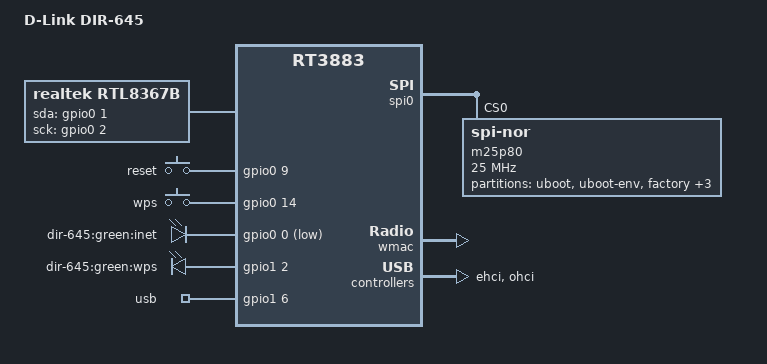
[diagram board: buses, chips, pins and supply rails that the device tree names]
/dts-v1/;

#include "rt3883.dtsi"

/ {
	compatible = "DIR-645", "ralink,rt3883-soc";
	model = "D-Link DIR-645";

	rtl8367b {
		compatible = "realtek,rtl8367b";
		gpio-sda = <&gpio0 1 0>;
		gpio-sck = <&gpio0 2 0>;
		realtek,extif1 = <1 0 1 1 1 1 1 1 2>;
	};

	gpio-keys-polled {
		compatible = "gpio-keys-polled";
		#address-cells = <1>;
		#size-cells = <0>;
		poll-interval = <100>;

		reset {
			label = "reset";
			gpios = <&gpio0 9 0>;
			linux,code = <0x198>;
		};

		wps {
			label = "wps";
			gpios = <&gpio0 14 0>;
			linux,code = <0x211>;
		};
	};

	gpio-leds {
		compatible = "gpio-leds";

		inet {
			label = "dir-645:green:inet";
			gpios = <&gpio0 0 1>;
		};

		wps {
			label = "dir-645:green:wps";
			gpios = <&gpio1 2 0>;
		};
	};

	gpio_export {
		compatible = "gpio-export";
		#size-cells = <0>;

		usb {
			gpio-export,name = "usb";
			gpio-export,output = <1>;
			gpios = <&gpio1 6 0>;
		};
	};
};

&gpio1 {
	status = "okay";
};

&spi0 {
	status = "okay";

	m25p80@0 {
		#address-cells = <1>;
		#size-cells = <1>;
		compatible = "jedec,spi-nor";
		reg = <0>;
		linux,modalias = "m25p80";
		spi-max-frequency = <25000000>;

		partition@0 {
			label = "uboot";
			reg = <0x0 0x30000>;
			read-only;
		};

		partition@30000 {
			label = "uboot-env";
			reg = <0x30000 0x4000>;
			read-only;
		};

		factory: partition@34000 {
			label = "factory";
			reg = <0x34000 0x4000>;
			read-only;
		};

		partition@38000 {
			label = "nvram";
			reg = <0x38000 0x8000>;
			read-only;
		};

		partition@40000 {
			label = "devdata";
			reg = <0x40000 0x10000>;
		};

		partition@50000 {
			label = "firmware";
			reg = <0x50000 0x7b0000>;
		};
	};
};

&pinctrl {
	state_default: pinctrl0 {
		gpio {
			ralink,group = "i2c", "jtag", "uartf";
			ralink,function = "gpio";
		};
	};
};

&ethernet {
	mtd-mac-address = <&factory 0x4>;

	port@0 {
		mediatek,fixed-link = <1000 1 1 0>;
	};
};

&wmac {
	ralink,5ghz = <0>;
	ralink,mtd-eeprom = <&factory 0>;
};

&ehci {
	status = "okay";
};

&ohci {
	status = "okay";
};
